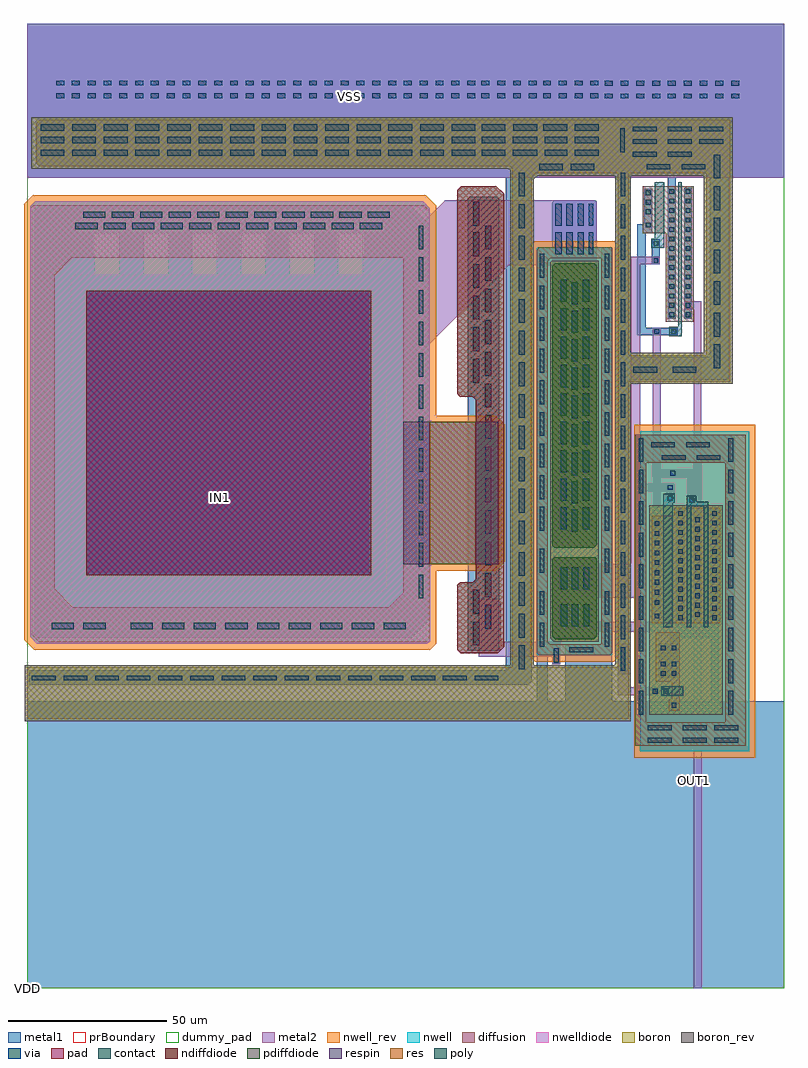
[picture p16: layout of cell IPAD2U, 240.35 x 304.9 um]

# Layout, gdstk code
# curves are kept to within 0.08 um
import gdstk
lib = gdstk.Library(unit=1e-6, precision=1e-09)
def R(c, l, rs):  # rectangles x0, y0, x1, y1
    for r in rs: c.add(gdstk.rectangle(r[:2], r[2:], *l))
def A(c, l, x, y, w, h, nx, ny, dx, dy):  # array of equal rectangles
    R(c, l, [(x+i*dx, y+j*dy, x+i*dx+w, y+j*dy+h) for i in range(nx) for j in range(ny)])
def P(c, l, *ps):  # polygons
    for p in ps: c.add(gdstk.Polygon(p, *l))
nwell = (1, 0)
diffusion = (2, 0)
nwell_rev = (3, 0)
poly = (4, 0)
boron = (5, 0)
boron_rev = (6, 0)
contact = (7, 0)
metal1 = (8, 0)
via = (9, 0)
metal2 = (10, 0)
pad = (11, 0)
prBoundary = (28, 0)
res = (35, 0)
respin = (36, 0)
pdiffdiode = (37, 0)
nwelldiode = (38, 0)
ndiffdiode = (39, 0)
dummy_pad = (40, 0)

ipad2u = lib.new_cell('IPAD2U')
R(ipad2u, nwell, [(194,74.9,228.35,176.1)])
P(ipad2u, nwell, [(161.5,105.25),(161.15,105.6),(161.15,233.95),(161.45,234.25),(185,234.25),(185.15,234.1),(185.15,105.6),(184.8,105.25)],
  [(3.15,108.95),(1.05,111.05),(1.05,247.25),(2.6,248.8),(125.25,248.8),(127.4,246.65),(127.4,179.652),(128.002,179.05),(147.45,179.05),(149.1,177.4),(149.1,135.7),(147.45,134.05),(128.058,134.05),(127.45,133.442),(127.45,109.75),(126.65,108.95)])
P(ipad2u, diffusion, [(192.4,76.6),(192.4,174.95),(220.8,174.95),(220.8,166.05),(195.9,166.05),(195.9,84.1),(220.8,84.1),(220.8,174.95),(227.3,174.95),(227.3,76.6)],
  [(3.95,109.3),(1.05,112.2),(1.05,246.563),(2.037,247.55),(119,247.55),(119,231),(14.214,231),(8.7,225.486),(8.7,126.204),(14.404,120.5),(114.449,120.5),(119,125.051),(119,247.55),(125.563,247.55),(127.35,245.763),(127.35,109.952),(126.698,109.3)],
  [(162.101,105.25),(161.15,106.201),(161.15,233.344),(162.056,234.25),(181.65,234.25),(181.65,230.75),(165.536,230.75),(164.65,229.864),(164.65,109.515),(165.415,108.75),(181.395,108.75),(181.65,109.005),(181.65,234.25),(184.95,234.25),(185.15,234.05),(185.15,106.052),(184.348,105.25)],
  [(137.101,105.95),(136.1,106.951),(136.1,127.549),(136.951,128.4),(140.987,128.4),(141.85,129.263),(141.85,185.999),(140.849,187),(136.906,187),(136,187.906),(136,252.285),(137.365,253.65),(148.4,253.65),(150.9,251.15),(150.9,108.002),(148.848,105.95)],
  [(0,85.15),(0,101.45),(153.45,101.45),(153.45,259.248),(152.848,259.85),(3.814,259.85),(2.85,260.814),(2.85,273.45),(4.05,274.65),(186.75,274.65),(186.75,257.65),(160.704,257.65),(159.55,256.496),(159.552,101.45),(186.295,101.45),(186.75,101.905),(186.75,274.65),(188.9,274.65),(190.25,273.3),(190.25,85.15)],
  [(167.105,110.25),(166.15,111.205),(166.15,135.6),(166.8,136.25),(179.65,136.25),(180.15,135.75),(180.15,111.15),(179.25,110.25)],
  [(202.9,87.7),(202.9,91.2),(203.9,91.2),(203.9,96.85),(198.8,96.85),(198.8,112.5),(206.4,112.5),(206.4,87.7)],
  [(197.5,115.35),(197.5,149.35),(204.7,149.35),(204.7,151.85),(219.2,151.85),(219.2,115.35)],
  [(166.752,139.25),(166.15,139.852),(166.15,228.35),(167.05,229.25),(179.448,229.25),(180.15,228.548),(180.15,140.156),(179.244,139.25)],
  [(190.25,191.8),(190.25,200.1),(214.75,200.1),(214.75,257.65),(182.35,257.65),(182.35,274.65),(222.45,274.65),(222.45,191.8)],
  [(201.95,210.65),(201.95,238.65),(194.75,238.65),(194.75,253.65),(210.8,253.65),(210.8,210.65)])
R(ipad2u, nwell_rev, [(192,72.9,230.35,178.1)])
P(ipad2u, nwell_rev, [(160.672,103.25),(159.15,104.772),(159.15,234.778),(160.622,236.25),(185.828,236.25),(187.15,234.928),(187.15,104.772),(185.628,103.25)],
  [(2.322,106.95),(-0.95,110.222),(-0.95,248.078),(1.772,250.8),(126.078,250.8),(129.4,247.478),(129.4,181.05),(148.278,181.05),(151.1,178.228),(151.1,134.872),(148.278,132.05),(129.45,132.05),(129.45,108.922),(127.478,106.95)])
R(ipad2u, poly, [(200.6,92.45,207.6,95.45)])
P(ipad2u, poly, [(201.2,114.15),(201.2,156.35),(204.9,156.35),(204.9,153.45),(204.2,153.45),(204.2,114.15)],
  [(208.6,114.15),(208.6,155.7),(211.7,155.7),(211.7,153.75),(215.5,153.75),(215.5,114.15),(214,114.15),(214,152.35),(210.1,152.35),(210.1,114.15)],
  [(203.1,206.2),(203.1,209.1),(205.9,209.1),(205.9,254.9),(207.1,254.9),(207.1,206.2)],
  [(197.45,234.05),(197.45,236.95),(198.45,236.95),(198.45,254.9),(201.45,254.9),(201.45,234.05)])
R(ipad2u, boron, [(196.8,86.5,220,152.7)])
P(ipad2u, boron, [(-0.7,84.45),(-0.7,102.15),(152.75,102.15),(152.75,258.6),(152.2,259.15),(1.4,259.15),(1.4,275.45),(186.05,275.45),(186.05,256.95),(161.451,256.95),(160.25,255.749),(160.25,102.15),(185.7,102.15),(186.05,102.5),(186.05,275.45),(190.95,275.45),(190.95,84.45)],
  [(166.6,109.55),(165.45,110.7),(165.45,229.5),(165.9,229.95),(180.85,229.95),(180.85,109.55)],
  [(189.55,191.1),(189.55,200.85),(214.05,200.85),(214.05,256.95),(179.9,256.95),(179.9,275.45),(223.2,275.45),(223.2,191.1)])
R(ipad2u, boron_rev, [(196.8,86.5,220,152.7)])
P(ipad2u, boron_rev, [(-0.7,84.45),(-0.7,102.15),(152.75,102.15),(152.75,258.6),(152.2,259.15),(1.4,259.15),(1.4,275.45),(186.05,275.45),(186.05,256.95),(161.451,256.95),(160.25,255.749),(160.25,102.15),(185.7,102.15),(186.05,102.5),(186.05,275.45),(190.95,275.45),(190.95,84.45)],
  [(166.6,109.55),(165.45,110.7),(165.45,229.5),(165.9,229.95),(180.85,229.95),(180.85,109.55)],
  [(189.55,191.1),(189.55,200.85),(214.05,200.85),(214.05,256.95),(179.9,256.95),(179.9,275.45),(223.2,275.45),(223.2,191.1)])
A(ipad2u, contact, 193.4, 86.45, 1.5, 7.5, 1, 9, 0, 10)
A(ipad2u, contact, 221.8, 86.45, 1.5, 7.5, 1, 9, 0, 10)
A(ipad2u, contact, 1.55, 97.3, 7.5, 1.5, 15, 1, 10, 0)
A(ipad2u, contact, 155.45, 100.85, 2, 7.5, 1, 3, 0, 10)
A(ipad2u, contact, 187.75, 110.35, 1.5, 7.5, 1, 15, 0, 10)
A(ipad2u, contact, 32.75, 113.55, 7, 2, 9, 1, 10, 0)
A(ipad2u, contact, 168.85, 114.4, 2, 7, 3, 1, 3.5, 0)
A(ipad2u, contact, 205.9, 116.35, 1.5, 1.5, 1, 12, 0, 3)
A(ipad2u, contact, 216.7, 116.35, 1.5, 1.5, 1, 12, 0, 3)
A(ipad2u, contact, 123.85, 123.25, 1.5, 7.5, 1, 10, 0, 10)
A(ipad2u, contact, 144.85, 123.65, 2, 7.5, 1, 12, 0, 10)
A(ipad2u, contact, 211.3, 129.35, 1.5, 1.5, 1, 7, 0, 3)
A(ipad2u, contact, 155.45, 130.35, 2, 7.5, 1, 13, 0, 10)
A(ipad2u, contact, 172.25, 144.25, 2, 7, 1, 9, 0, 9)
A(ipad2u, contact, 162.15, 144.65, 1.5, 7.5, 1, 9, 0, 10)
A(ipad2u, contact, 182.65, 144.65, 1.5, 7.5, 1, 9, 0, 10)
A(ipad2u, contact, 175.75, 145.05, 2, 7, 1, 9, 0, 9)
A(ipad2u, contact, 168.75, 163.05, 2, 7, 1, 7, 0, 9)
A(ipad2u, contact, 141.05, 191.45, 2, 7.5, 1, 5, 0, 10)
A(ipad2u, contact, 217.25, 196.05, 2, 7.5, 1, 7, 0, 10)
A(ipad2u, contact, 203.15, 212.15, 1.5, 1.5, 1, 14, 0, 3)
A(ipad2u, contact, 208.3, 218.15, 1.5, 1.5, 1, 12, 0, 3)
A(ipad2u, contact, 15.3, 240.05, 7, 2, 11, 1, 9, 0)
A(ipad2u, contact, 17.8, 243.55, 7, 2, 10, 1, 9, 0)
A(ipad2u, contact, 195.75, 244.75, 1.5, 1.5, 1, 3, 0, 3)
A(ipad2u, contact, 191.6, 262.95, 7.5, 1.5, 1, 3, 0, 4)
A(ipad2u, contact, 202.65, 262.95, 7.5, 1.5, 1, 3, 0, 4)
A(ipad2u, contact, 4.3, 263.15, 7.5, 2, 14, 3, 10, 4)
A(ipad2u, contact, 143.8, 263.15, 7.5, 2, 1, 3, 0, 4)
A(ipad2u, contact, 173.3, 263.15, 7.5, 2, 1, 3, 0, 4)
R(ipad2u, contact, [(196.35,77.6,203.85,79.1), (207.4,77.6,214.9,79.1), (217.4,77.6,224.9,79.1), (196.35,81.6,203.85,83.1), (207.4,81.6,214.9,83.1), (217.4,81.6,224.9,83.1), (203.9,88.7,205.4,90.2), (201.3,93.15,202.8,94.65), (200.45,98.7,201.95,100.2), (203.9,98.7,205.4,100.2), (200.45,101.7,201.95,103.2), (171.55,106.25,179.05,107.75), (200.45,106.8,201.95,108.3), (203.9,106.8,205.4,108.3), (162.15,108,163.65,115.5), (182.65,108,184.15,115.5), (141.05,108.4,143.05,115.9), (7.85,113.55,14.85,115.55), (17.85,113.55,24.85,115.55), (198.5,116.95,200,118.45), (211.3,117.35,212.8,118.85), (162.15,118,163.65,125.5), (182.65,118,184.15,125.5), (141.05,118.45,143.05,125.95), (211.3,120.35,212.8,121.85), (198.5,121.15,200,122.65), (198.5,124.4,200,125.9), (168.85,126.15,170.85,133.15), (172.35,126.15,174.35,133.15), (198.5,127.6,200,129.1), (198.5,130.6,200,132.1), (162.15,131.4,163.65,138.9), (182.65,131.4,184.15,138.9), (198.5,133.8,200,135.3), (198.5,136.8,200,138.3), (198.5,140,200,141.5), (198.5,143,200,144.5), (198.5,146.2,200,147.7), (209.5,153.5,211,155), (202.7,154.15,204.2,155.65), (200.75,167.05,208.25,168.55), (211.8,167.05,219.3,168.55), (197.4,171.05,204.9,172.55), (208.45,171.05,215.95,172.55), (191.75,194.55,199.25,196.55), (204.2,194.55,211.7,196.55), (203.8,206.9,205.3,208.4), (208.3,212.15,209.8,213.65), (123.85,223.6,125.35,231.1), (123.85,233.6,125.35,241.1), (198.15,234.75,199.65,236.25), (195.75,240.55,197.25,242.05), (141.05,241.15,143.05,248.65), (107.8,243.55,114.7,245.55), (161.95,258.65,169.45,260.65), (171.95,258.65,179.45,260.65), (196,258.95,203.5,260.45), (207.05,258.95,214.55,260.45), (153.65,263.15,161.3,265.15), (163.8,263.15,170.8,265.15), (187.6,264.35,189.1,271.85), (212.65,266.95,220.15,268.45), (153.65,267.15,161.3,269.15), (163.8,267.15,170.8,269.15), (212.65,270.95,220.15,272.45), (153.8,271.15,161.3,273.15), (163.3,271.15,170.8,273.15)])
R(ipad2u, metal1, [(0,0,239.4,90.7), (0,0,239.4,90.7), (216.2,85.65,218.7,151.35), (192.9,85.95,195.4,174.45), (197.4,92.65,203.3,95.15), (199.95,98.2,205.95,108.9), (210.8,116.85,213.3,149.75), (202.2,153.65,204.7,159.55), (202.65,211.65,205.15,284.85), (207.8,211.65,210.3,253.15), (197.65,228.85,200.15,236.75), (0,256.2,239.4,304.9), (0,256.2,239.4,304.9)])
P(ipad2u, metal1, [(0.75,95.85),(0.75,100.5),(151.35,100.5),(151.35,256.2),(0,256.2),(0,304.9),(239.4,304.9),(239.4,256.2),(190.95,256.2),(190.95,99.3),(190.85,99.2),(186.85,99.2),(186.75,99.3),(186.75,255.344),(185.894,256.2),(160.252,256.2),(159.55,255.498),(159.55,97.066),(158.334,95.85)],
  [(0,0),(0,90.7),(160.689,90.7),(161.15,91.161),(161.15,233.85),(161.55,234.25),(164.197,234.25),(164.65,233.797),(164.65,91.05),(165,90.7),(169.7,90.7),(170.15,91.15),(170.15,108.248),(170.652,108.75),(181.395,108.75),(181.65,109.005),(181.65,233.847),(182.053,234.25),(184.8,234.25),(185.15,233.9),(185.15,91.202),(185.652,90.7),(239.4,90.7),(239.4,0)],
  [(139.35,106.65),(139.35,249.685),(139.915,250.25),(148.548,250.25),(149.35,249.448),(149.35,106.65)],
  [(205.4,110.65),(205.4,151.35),(207.9,151.35),(207.9,114.5),(218.1,114.5),(218.1,110.65)],
  [(221.3,85.95),(221.3,166.55),(194.7,166.55),(194.7,174.45),(223.8,174.45),(223.8,85.95)],
  [(2.45,110.8),(1.75,111.5),(1.75,245.949),(3.351,247.55),(29.2,247.55),(29.2,238.55),(21.5,238.55),(21.5,225.55),(29.2,225.55),(29.2,247.55),(44.6,247.55),(44.6,238.55),(36.9,238.55),(36.9,225.55),(44.6,225.55),(44.6,247.55),(60,247.55),(60,238.55),(52.3,238.55),(52.3,225.55),(60,225.55),(60,247.55),(75.4,247.55),(75.4,238.55),(67.7,238.55),(67.7,225.55),(75.4,225.55),(75.4,247.55),(90.8,247.55),(90.8,238.55),(83.1,238.55),(83.1,225.55),(90.8,225.55),(90.8,247.55),(106.2,247.55),(106.2,238.55),(98.5,238.55),(98.5,225.55),(106.2,225.55),(106.2,247.55),(121.25,247.55),(127.4,241.4),(127.4,214),(127.3,214),(127.35,116.437),(121.713,110.8)],
  [(166.15,102.35),(166.15,135.394),(166.157,135.412),(166.237,135.531),(166.956,136.25),(179.348,136.25),(180.15,135.448),(180.15,111.27),(179.13,110.25),(169.601,110.25),(168.65,109.299),(168.65,102.35)],
  [(198,116.45),(198,164.05),(211.5,164.05),(211.5,153),(209,153),(209,161.55),(200.5,161.55),(200.5,116.45)],
  [(166.75,139.25),(166.15,139.85),(166.15,248.498),(166.802,249.15),(179.747,249.15),(180.115,248.782),(180.15,248.697),(180.15,140.156),(179.244,139.25)],
  [(190.75,192.3),(190.75,199.6),(215.85,199.6),(215.85,281.4),(221.95,281.4),(221.95,192.3)],
  [(192.95,206.4),(192.95,241.6),(195.25,241.6),(195.25,252.75),(197.75,252.75),(197.75,238.65),(195.75,238.65),(195.75,208.9),(205.8,208.9),(205.8,206.4)])
A(ipad2u, via, 182.7, 281.4, 2.5, 1.5, 9, 2, 5, 4)
A(ipad2u, via, 9.2, 281.45, 2.5, 1.5, 27, 2, 5, 4)
A(ipad2u, via, 143.7, 281.45, 2.5, 1.5, 4, 2, 5, 4)
A(ipad2u, via, 163.2, 281.45, 2.5, 1.5, 4, 2, 5, 4)
R(ipad2u, via, [(197.9,93.15,199.4,94.65), (187.75,100.35,189.25,107.85), (203.9,101.7,205.4,103.2), (166.65,102.85,168.15,107.5), (144.85,113.65,146.85,121.15), (211.3,123.35,212.8,124.85), (175.85,126.15,177.85,133.15), (211.3,126.35,212.8,127.85), (18.8,130.55,108.8,220.55), (168.75,145.05,170.75,152.05), (168.75,154.05,170.75,161.05), (202.7,157.55,204.2,159.05), (203.45,162.05,204.95,163.55), (198.4,206.9,199.9,208.4), (208.3,215.15,209.8,216.65), (198.15,229.35,199.65,230.85), (167.05,232.05,169.05,239.05), (170.6,232.05,172.6,239.05), (174.1,232.05,176.1,239.05), (177.6,232.05,179.1,239.05), (167.05,241.05,169.05,248.05), (170.6,241.05,172.6,248.05), (174.1,241.05,176.1,248.05), (177.6,241.05,179.1,248.05)])
R(ipad2u, metal2, [(210.85,0,213.35,20.3), (0,256.2,239.4,304.9), (0,256.2,239.4,304.9)])
P(ipad2u, metal2, [(197.9,161.55),(197.9,208.9),(200.4,208.9),(200.4,164.05),(205.45,164.05),(205.45,161.55)],
  [(14.751,125.55),(13.8,126.501),(13.8,224.7),(14.65,225.55),(108.749,225.55),(132.15,248.951),(132.15,249.15),(179.547,249.15),(180.2,248.497),(180.2,229.8),(179,228.6),(152.298,228.6),(113.8,190.118),(113.8,126.352),(112.998,125.55)],
  [(210.85,20.3),(210.85,104.1),(210.8,104.1),(210.8,214.65),(207.8,214.65),(207.8,217.15),(213.3,217.15),(213.3,109.6),(213.35,109.6),(213.35,20.3)],
  [(203.4,100.55),(203.4,112.65),(166.55,112.65),(166.55,163.45),(172.3,163.45),(172.3,115.85),(205.95,115.85),(205.95,100.55)],
  [(166.15,102.35),(166.15,104.4),(165.7,104.85),(142.8,104.85),(142.8,121.75),(144.1,123.05),(148.5,123.05),(149.8,121.75),(149.8,109.55),(168.05,109.55),(168.65,108.95),(168.65,102.35)],
  [(186.75,92.65),(186.75,108.85),(190.95,108.85),(190.95,95.15),(199.9,95.15),(199.9,92.65)],
  [(174.8,123.5),(174.8,134.25),(190.9,134.25),(190.9,231.35),(200.15,231.35),(200.15,228.85),(193.9,228.85),(193.9,159.55),(204.7,159.55),(204.7,157.05),(193.9,157.05),(193.9,123.5)])
R(ipad2u, pad, [(18.8,130.55,108.8,220.55)])
R(ipad2u, prBoundary, [(0,0,239.4,304.9)])
R(ipad2u, res, [(127.35,134.05,141.85,179.05)])
R(ipad2u, respin, [(119,134.05,127.35,179.05), (141.85,134.05,149.1,179.05)])
P(ipad2u, pdiffdiode, [(167.105,110.25),(166.15,111.205),(166.15,135.6),(166.8,136.25),(179.65,136.25),(180.15,135.75),(180.15,111.15),(179.25,110.25)],
  [(166.752,139.25),(166.15,139.852),(166.15,228.35),(167.05,229.25),(179.448,229.25),(180.15,228.548),(180.15,140.156),(179.244,139.25)])
P(ipad2u, nwelldiode, [(3.15,108.95),(1.05,111.05),(1.05,247.25),(2.6,248.8),(125.25,248.8),(127.4,246.65),(127.4,179.652),(128.002,179.05),(147.45,179.05),(149.1,177.4),(149.1,135.7),(147.45,134.05),(128.058,134.05),(127.45,133.442),(127.45,109.75),(126.65,108.95)])
P(ipad2u, ndiffdiode, [(137.101,105.95),(136.1,106.951),(136.1,127.549),(136.951,128.4),(140.987,128.4),(141.85,129.263),(141.85,185.999),(140.849,187),(136.906,187),(136,187.906),(136,252.285),(137.365,253.65),(148.4,253.65),(150.9,251.15),(150.9,108.002),(148.848,105.95)])
R(ipad2u, dummy_pad, [(0,0,239.4,304.9)])
ipad2u.add(gdstk.Label('VSS', (102,281.801), layer=10, texttype=7))
ipad2u.add(gdstk.Label('IN1', (61.1,155.05), layer=10, texttype=7))
ipad2u.add(gdstk.Label('OUT1', (211.05,65.75), layer=10, texttype=7))
ipad2u.add(gdstk.Label('VDD', (0.001,0.001), layer=8, texttype=7))

lib.write_gds('IPAD2U.gds')
